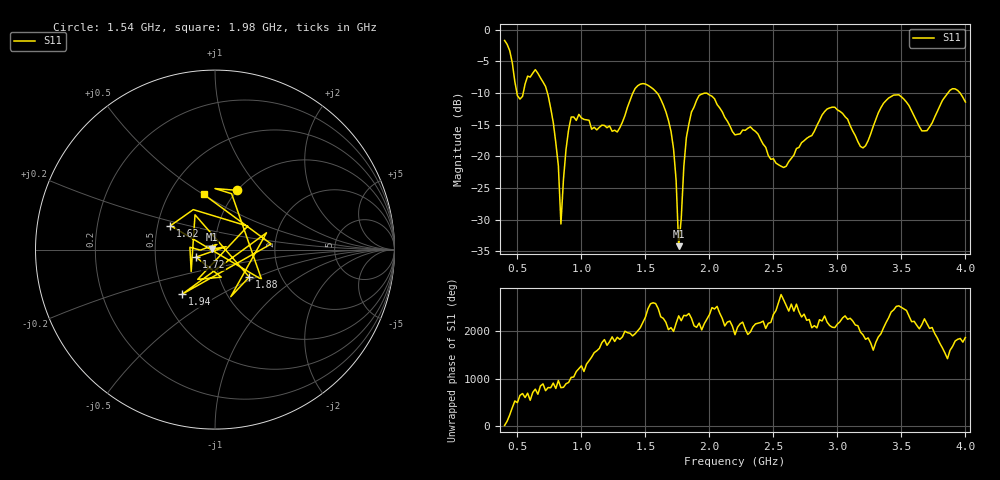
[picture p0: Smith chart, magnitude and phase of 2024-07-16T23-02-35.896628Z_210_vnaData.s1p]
!Created with skrf (http://scikit-rf.org).
# Hz S RI R 50.0
!freq ReS11 ImS11
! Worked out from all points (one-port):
!   181 points, 400 MHz to 4 GHz, reference 50 ohm
!   lowest |S11| = -34.2 dB at 1.76 GHz (marker M1), VSWR 1.04, Z = 48.1 + j0.242 ohm
!   |S11| at or under -10 dB: 496 MHz to 545.7 MHz (49.65 MHz wide, 9.53 % of centre); 734.4 MHz to 1.403 GHz (668.3 MHz wide, 62.5 % of centre); 1.59 GHz to 3.864 GHz (2.274 GHz wide, 83.4 % of centre) (the widest 3 of 4)
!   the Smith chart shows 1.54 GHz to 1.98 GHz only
!   S11 on the Smith chart (normalised r, x): 1.54 GHz: 0.99, +0.75; 1.62 GHz: 0.58, +0.17; 1.72 GHz: 0.81, -0.07; 1.88 GHz: 1.39, -0.45; 1.94 GHz: 0.62, -0.34; 1.98 GHz: 0.73, +0.50
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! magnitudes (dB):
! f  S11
! 400 MHz  -1.7
! 520 MHz  -11.0
! 640 MHz  -6.3
! 720 MHz  -9.0
! 800 MHz  -17.9
! 840 MHz  -30.7
! 860 MHz  -23.6
! 920 MHz  -13.8
! 1.3 GHz  -15.5
! 1.42 GHz  -9.3
! 1.54 GHz  -9.1
! 1.62 GHz  -11.0
! 1.72 GHz  -18.8
! 1.76 GHz  -34.2
! 1.82 GHz  -17.1
! 1.88 GHz  -12.2
! 1.94 GHz  -10.2
! 1.98 GHz  -10.0
! 2.2 GHz  -16.6
! 2.66 GHz  -19.8
! 2.92 GHz  -12.5
! 3.1 GHz  -15.2
! 3.2 GHz  -18.7
! 3.4 GHz  -10.8
! 3.56 GHz  -12.0
! 3.68 GHz  -16.0
! 3.88 GHz  -9.6
! 4 GHz  -11.4
